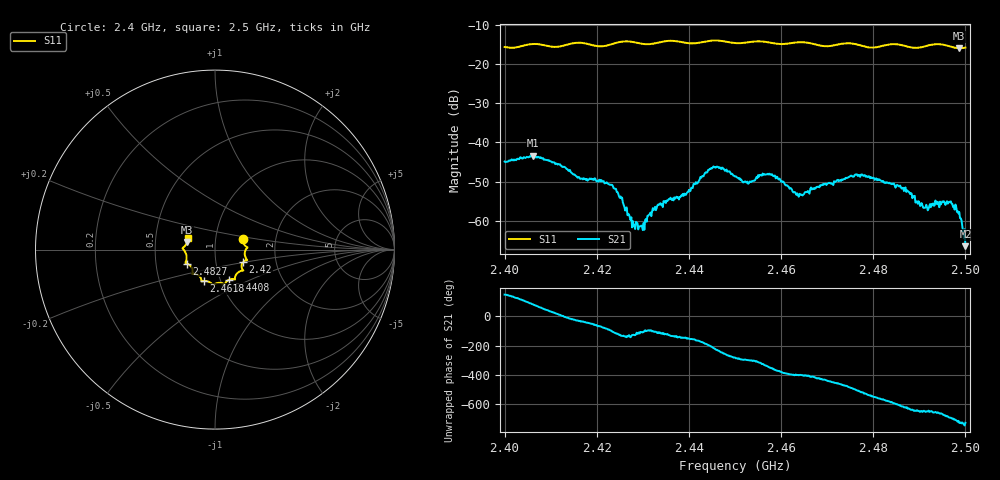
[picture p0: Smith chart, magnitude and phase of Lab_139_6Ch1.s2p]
# Hz S RI R 50
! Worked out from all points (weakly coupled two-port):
!   601 points, 2.4 GHz to 2.5 GHz, reference 50 ohm
!   highest |S21| = -43.41 dB at 2.4062 GHz (marker M1); lowest = -66.5 dB at 2.5 GHz (marker M2)
!   lowest |S11| = -15.9 dB at 2.4987 GHz (marker M3), VSWR 1.38, Z = 36.5 + j3.23 ohm
!   |S11| at or under -10 dB: start of sweep to end of sweep
!   S12 and S22 are empty: the file has one direction only
!   S11 on the Smith chart (normalised r, x): 2.4 GHz: 1.35, +0.17; 2.42 GHz: 1.36, -0.19; 2.4408 GHz: 1.10, -0.38; 2.4618 GHz: 0.83, -0.30; 2.4827 GHz: 0.72, -0.12; 2.5 GHz: 0.73, +0.09
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2.4e9  0.1547 0.0617  -0.00489 0.00293  0 0  0 0
2.406167e9  0.1813 0.0125  0.00097 0.00669  0 0  0 0
2.416667e9  0.1787 -0.0588  0.00285 -0.00194  0 0  0 0
2.42e9  0.1568 -0.0689  0.00164 -0.00273  0 0  0 0
2.423667e9  0.1507 -0.1057  -0.00084 -0.00247  0 0  0 0
2.428167e9  0.1512 -0.1174  -0.000544 -0.000682  0 0  0 0
2.429833e9  0.136 -0.1222  -0.000276 -0.000787  0 0  0 0
2.433333e9  0.1118 -0.153  -0.000505 -0.00153  0 0  0 0
2.440833e9  0.0777 -0.1683  -0.00242 -0.00103  0 0  0 0
2.445667e9  0.0532 -0.1947  -0.00356 0.00327  0 0  0 0
2.45e9  0.027 -0.1851  0.000799 0.00359  0 0  0 0
2.453e9  -0.00188 -0.1919  0.00149 0.00261  0 0  0 0
2.457667e9  -0.0212 -0.1879  0.00384 0.000554  0 0  0 0
2.461833e9  -0.0614 -0.1749  0.00202 -0.00157  0 0  0 0
2.466667e9  -0.0761 -0.168  0.00153 -0.00198  0 0  0 0
2.4765e9  -0.1251 -0.1284  -0.0033 -0.00208  0 0  0 0
2.482667e9  -0.1582 -0.0776  -0.00248 0.00185  0 0  0 0
2.483333e9  -0.1619 -0.0766  -0.00229 0.00196  0 0  0 0
2.491333e9  -0.1703 -0.00613  0.000606 0.00134  0 0  0 0
2.4965e9  -0.1695 0.0179  0.00155 0.000801  0 0  0 0
2.498667e9  -0.1546 0.0431  0.00128 -0.000202  0 0  0 0
2.5e9  -0.1513 0.063  0.000466 -7.51e-05  0 0  0 0
